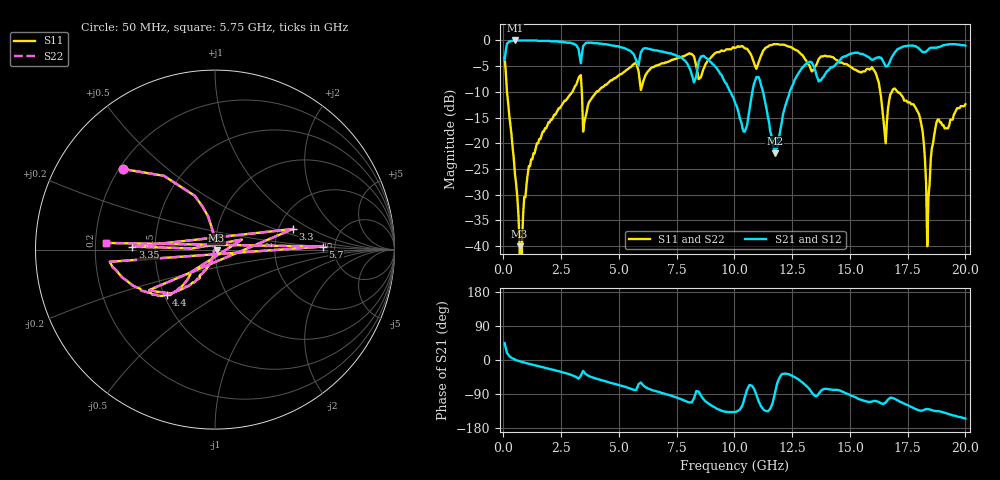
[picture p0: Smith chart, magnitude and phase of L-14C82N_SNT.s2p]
#	mhz	s	ma	r	50
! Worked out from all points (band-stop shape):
!   400 points, 50 MHz to 20 GHz, reference 50 ohm
!   highest |S21| = 0.00 dB at 500 MHz (marker M1); lowest = -21.9 dB at 11.75 GHz (marker M2)
!   |S21| within 3 dB of the highest: 71.89 MHz to 3.301 GHz (3.229 GHz wide, 191 % of centre); 16.85 GHz to end of sweep (the widest 2 of 6)
!   lowest |S11| = -40.0 dB at 700 MHz (marker M3), VSWR 1.02, Z = 50.9 - j0.437 ohm
!   |S11| at or under -10 dB: 152.4 MHz to 2.981 GHz (2.829 GHz wide, 181 % of centre); 3.394 GHz to 4.031 GHz (637.5 MHz wide, 17.2 % of centre); 17.07 GHz to end of sweep (the widest 3 of 4)
!   |S22| runs from - to -0.7 dB; largest |S21 - S12| = 0
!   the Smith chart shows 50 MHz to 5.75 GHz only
!   S11 on the Smith chart (normalised r, x): 50 MHz: 0.22, +0.36; 3.3 GHz: 2.40, +0.69; 3.35 GHz: 0.37, +0.02; 4.4 GHz: 0.51, -0.30; 5.7 GHz: 3.99, +0.21; 5.75 GHz: 0.24, +0.03
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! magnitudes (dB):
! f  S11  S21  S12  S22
! 50 MHz  -3.3  -3.7  -3.7  -3.3
! 500 MHz  -26.0  0.0  0.0  -26.0
! 700 MHz  -40.0  0.0  0.0  -40.0
! 750 MHz  -  0.0  0.0  -
! 800 MHz  -40.0  0.0  0.0  -40.0
! 1.1 GHz  -24.4  0.0  0.0  -24.4
! 3.3 GHz  -6.9  -3.0  -3.0  -6.9
! 3.35 GHz  -6.7  -4.4  -4.4  -6.7
! 3.4 GHz  -10.5  -2.6  -2.6  -10.5
! 4.4 GHz  -8.6  -0.7  -0.7  -8.6
! 5.7 GHz  -4.4  -3.3  -3.3  -4.4
! 5.75 GHz  -4.3  -3.9  -3.9  -4.3
! 6.7 GHz  -4.7  -2.0  -2.0  -4.7
! 10.05 GHz  -1.4  -12.4  -12.4  -1.4
! 11.05 GHz  -4.3  -7.1  -7.1  -4.3
! 11.75 GHz  -0.7  -21.9  -21.9  -0.7
! 13.35 GHz  -6.0  -4.3  -4.3  -6.0
! 16.7 GHz  -11.7  -4.4  -4.4  -11.7
! 18 GHz  -14.4  -1.6  -1.6  -14.4
! 18.35 GHz  -40.0  -1.9  -1.9  -40.0
! 18.75 GHz  -15.9  -1.4  -1.4  -15.9
! 20 GHz  -12.4  -1.0  -1.0  -12.4
